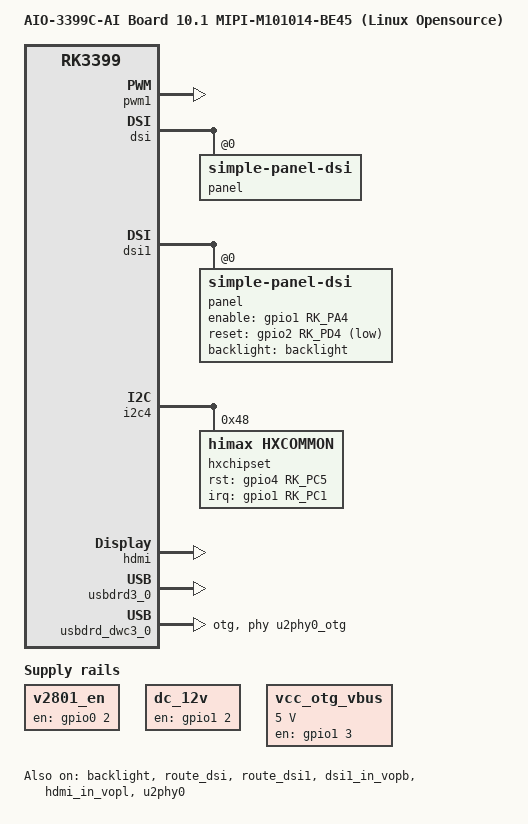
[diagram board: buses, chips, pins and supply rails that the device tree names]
/*
 * Copyright (c) 2016 Fuzhou Rockchip Electronics Co., Ltd
 *
 * This file is dual-licensed: you can use it either under the terms
 * of the GPL or the X11 license, at your option. Note that this dual
 * licensing only applies to this file, and not this project as a
 * whole.
 *
 *  a) This file is free software; you can redistribute it and/or
 *     modify it under the terms of the GNU General Public License as
 *     published by the Free Software Foundation; either version 2 of the
 *     License, or (at your option) any later version.
 *
 *     This file is distributed in the hope that it will be useful,
 *     but WITHOUT ANY WARRANTY; without even the implied warranty of
 *     MERCHANTABILITY or FITNESS FOR A PARTICULAR PURPOSE.  See the
 *     GNU General Public License for more details.
 *
 * Or, alternatively,
 *     restriction, including without limitation the rights to use,
 *     copy, modify, merge, publish, distribute, sublicense, and/or
 *     sell copies of the Software, and to permit persons to whom the
 *     Software is furnished to do so, subject to the following
 *     conditions:
 *
 *     The above copyright notice and this permission notice shall be
 *     included in all copies or substantial portions of the Software.
 *
 *     THE SOFTWARE IS PROVIDED "AS IS", WITHOUT WARRANTY OF ANY KIND,
 *     EXPRESS OR IMPLIED, INCLUDING BUT NOT LIMITED TO THE WARRANTIES
 *     OF MERCHANTABILITY, FITNESS FOR A PARTICULAR PURPOSE AND
 *     NONINFRINGEMENT. IN NO EVENT SHALL THE AUTHORS OR COPYRIGHT
 *     HOLDERS BE LIABLE FOR ANY CLAIM, DAMAGES OR OTHER LIABILITY,
 *     WHETHER IN AN ACTION OF CONTRACT, TORT OR OTHERWISE, ARISING
 *     FROM, OUT OF OR IN CONNECTION WITH THE SOFTWARE OR THE USE OR
 *     OTHER DEALINGS IN THE SOFTWARE.
 */

/dts-v1/;

#include "rk3399-firefly-aioc.dtsi"
#include <dt-bindings/display/media-bus-format.h>

/ {
	model = "AIO-3399C-AI Board 10.1 MIPI-M101014-BE45 (Linux Opensource)";
	compatible = "rockchip,rk3399-firefly", "rockchip,rk3399";

	v2801_en: v2801-en {
		compatible = "regulator-fixed";
		enable-active-high;
		gpio = <&gpio0 2 GPIO_ACTIVE_HIGH>;
		pinctrl-names = "default";
		pinctrl-0 = <&v2801_en_h>;
		regulator-name = "v2801_en";
		regulator-always-on;
	};

	dc_12v: dc-12v {
		compatible = "regulator-fixed";
		enable-active-high;
		gpio = <&gpio1 2 GPIO_ACTIVE_HIGH>;
		pinctrl-names = "default";
		pinctrl-0 = <&dc_ctl_h>;
		regulator-name = "dc_ctl";
		regulator-always-on;
	};

	vcc_otg_vbus: otg-vbus-regulator {
		compatible = "regulator-fixed";
		gpio = <&gpio1 3 GPIO_ACTIVE_HIGH>;
		pinctrl-names = "default";
		pinctrl-0 = <&otg_vbus_drv>;
		regulator-name = "vcc_otg_vbus";
		regulator-min-microvolt = <5000000>;
		regulator-max-microvolt = <5000000>;
		enable-active-high;
	};
};

&pwm1 {
	status = "okay";
};

&backlight {
	status = "okay";
	pwms = <&pwm1 0 50000 1>;
	enable-gpios = <&gpio1 1 GPIO_ACTIVE_HIGH>;
	brightness-levels = <
		 60  60  60  61  61  61  62  62
		 62  63  63  63  64  64  64  65
		 65  65  66  66  66  67  67  67
		 68  68  68  69  69  69  70  70
		 70  71  71  71  72  72  72  73
		 73  73  74  74  74  75  75  75
		 76  76  76  77  77  77  78  78
		 78  79  79  79  80  80  80  81
		 81  81  82  82  82  83  83  83
		 84  84  84  85  85  85  86  86
		 86  87  87  87  88  88  88  89
		 89  89  90  91  92  93  94  95
		 96  97  98  99 100 101 102 103
		104 105 106 107 108 109 110 111
		112 113 114 115 116 117 118 119
		120 121 122 123 124 125 126 127
		128 129 130 131 132 133 134 135
		136 137 138 139 140 141 142 143
		144 145 146 147 148 149 150 151
		152 153 154 155 156 157 158 159
		160 161 162 163 164 165 166 167
		168 169 170 171 172 173 174 175
		176 177 178 179 180 181 182 183
		184 185 186 187 188 189 190 191
		192 193 194 195 196 197 198 199
		200 201 202 203 204 205 206 207
		208 209 210 211 212 213 214 215
		216 217 218 219 220 221 222 223
		224 225 226 227 228 229 230 231
		232 233 234 235 236 237 238 239
		240 241 242 243 244 245 246 247
		248 249 250 251 252 253 254 255
	>;
	default-brightness-level = <200>;
};

&dsi {
	status = "okay";
	firefly,dsi1-only;

	panel@0 {
		compatible = "simple-panel-dsi";
		reg = <0>;
		dsi,flags = <(MIPI_DSI_MODE_VIDEO | MIPI_DSI_MODE_VIDEO_BURST | MIPI_DSI_MODE_LPM | MIPI_DSI_MODE_EOT_PACKET)>;
		dsi,format = <MIPI_DSI_FMT_RGB888>;
		bus-format = <MEDIA_BUS_FMT_RGB666_1X18>;
		dsi,lanes = <4>;

		status = "okay";

		display-timings {
			native-mode = <&timing0>;

			timing0: timing0 {
				clock-frequency = <72600000>;//<80000000>;
				hactive = <800>;//<768>;
				vactive = <1280>;
				hsync-len = <14>;   //20, 50,10
				hback-porch = <26>; //50, 56,10
				hfront-porch = <32>;//50, 30,180
				vsync-len = <8>;//4
				vback-porch = <20>;//4
				vfront-porch = <80>;//8
				hsync-active = <0>;
				vsync-active = <0>;
				de-active = <0>;
				pixelclk-active = <0>;
			};
		};
	};
};

&dsi1 {
	status = "okay";

	panel@0 {
		compatible = "simple-panel-dsi";
		reg = <0>;
		backlight = <&backlight>;
		//power-supply = <&vcc_lcd>;
		enable-gpios = <&gpio1 RK_PA4 GPIO_ACTIVE_HIGH>;
		reset-gpios = <&gpio2 RK_PD4 GPIO_ACTIVE_LOW>;
		dsi,flags = <(MIPI_DSI_MODE_VIDEO | MIPI_DSI_MODE_VIDEO_BURST | MIPI_DSI_MODE_LPM | MIPI_DSI_MODE_EOT_PACKET)>;
		dsi,format = <MIPI_DSI_FMT_RGB888>;
		bus-format = <MEDIA_BUS_FMT_RGB666_1X18>;
		dsi,lanes = <4>;

		enable-delay-ms = <35>;
		prepare-delay-ms = <6>;
		reset-delay-ms = <25>;
		init-delay-ms = <55>;
		unprepare-delay-ms = <0>;
		disable-delay-ms = <20>;
		size,width = <120>;
		size,height = <170>;

		status = "okay";

		//width-mm = <135>;
		//height-mm = <217>;

		panel-init-sequence = [
			05 78 01 11
			05 32 01 29
		];

		panel-exit-sequence = [
			05 05 01 28
			05 78 01 10
		];

		display-timings {
			native-mode = <&timing1>;

			timing1: timing1 {
				clock-frequency = <72600000>;//<80000000>;
				hactive = <800>;//<768>;
				vactive = <1280>;
				hsync-len = <14>;   //20, 50,10
				hback-porch = <26>; //50, 56,10
				hfront-porch = <32>;//50, 30,180
				vsync-len = <8>;//4
				vback-porch = <20>;//4
				vfront-porch = <80>;//8
				hsync-active = <0>;
				vsync-active = <0>;
				de-active = <0>;
				pixelclk-active = <0>;
			};
		};
	};
};

&i2c4 {
	status = "okay";

	//i2c-scl-rising-time-ns = <600>;
	//i2c-scl-falling-time-ns = <20>;

	hxchipset@48{
        status = "okay";
        compatible = "himax,hxcommon";
        reg = <0x48>;

        himax,rst-gpio =  <&gpio4 RK_PC5 GPIO_ACTIVE_HIGH>;
        himax,irq-gpio = <&gpio1 RK_PC1 IRQ_TYPE_LEVEL_LOW>;
        //himax,3v3-gpio = <&gpio0 RK_PB4 GPIO_ACTIVE_HIGH>;
        //himax,pon-gpio = <&gpio0 RK_PB4 GPIO_ACTIVE_HIGH>;

        himax,panel-coords = <0 800 0 1280>;      //触摸范围
        himax,display-coords = <0 800 0 1280>;    //分辨率
        report_type = <1>;
    };

	sensor@4c {
		status = "disabled";
		compatible = "gs_mc3230";
		reg = <0x4c>;
		type = <SENSOR_TYPE_ACCEL>;
		irq_enable = <0>;
		poll_delay_ms = <30>;
		layout = <2>;
	};

};

&route_hdmi {
	status = "disabled";
	connect = <&vopl_out_hdmi>;
};

&route_dsi {
	status = "okay";
};

&route_dsi1 {
	status = "okay";
	connect = <&vopb_out_dsi1>;
};

&dsi1_in_vopb {
	status = "okay";
};

&dsi1_in_vopl {
	status = "disabled";
};

&hdmi {
	status = "okay";
};

&hdmi_in_vopb {
	status = "disabled";
};

&hdmi_in_vopl {
	status = "okay";
};

&gmac {
	tx_delay = <0x2F>;
	rx_delay = <0x26>;
};

&pinctrl {
	pinctrl-names = "default";
	pinctrl-0 = <&host_hub_vcc>;

	sg {
		v2801_en_h: v2801-en-h {
			rockchip,pins =
				<0 2 RK_FUNC_GPIO &pcfg_pull_up>;
		};
	};

	dc {
		dc_ctl_h: dc-ctl-h {
			rockchip,pins =
				<1 2 RK_FUNC_GPIO &pcfg_pull_up>;
		};
	};

	vbus-usb {
		otg_vbus_drv: otg-vbus-drv {
			rockchip,pins = <1 3 RK_FUNC_GPIO &pcfg_pull_none>;
		};
	};

};

&fusb0 {
    status = "disabled";
};

&cdn_dp {
    status = "disabled";
};

&tcphy0 {
    /delete-property/ extcon;
    status = "disabled";
};

&u2phy0 {
    status = "okay";
    /delete-property/ extcon;
    u2phy0_otg: otg-port {
        vbus-supply = <&vcc_otg_vbus>; /*配置Vbus regulator属性 */
	status = "okay";
    };
};

&usbdrd3_0 {
    status = "okay";
    extcon = <&u2phy0>;
};

&usbdrd_dwc3_0 {
    dr_mode = "otg";
    phys = <&u2phy0_otg>;
    maximum-speed = "high-speed";
    phy-names = "usb2-phy";
};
